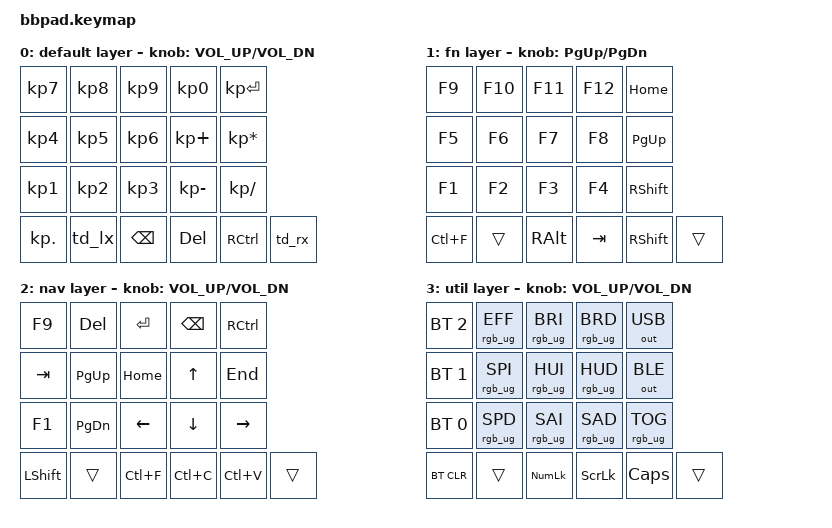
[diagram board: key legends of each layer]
/*
 * Copyright (c) 2023 The ZMK Contributors
 *
 * SPDX-License-Identifier: MIT
 */

#include <behaviors.dtsi>
#include <dt-bindings/zmk/keys.h>
#include <dt-bindings/zmk/bt.h>
#include <dt-bindings/zmk/rgb.h>
#include <dt-bindings/zmk/ext_power.h>
#include <dt-bindings/zmk/outputs.h>

#define DEFAULT  0
#define FN       1
#define NAV      2
#define UTIL     3

#define TIMEOUT 300

&encoder_1 {
    status = "okay";
};


/ {
    behaviors {
        td_lx: tap_dance_layers {
            compatible = "zmk,behavior-tap-dance";
            label = "TAP_DANCE_LAYERS";
            #binding-cells = <0>;
            tapping-term-ms = <170>;
            bindings = <&mo 1>, <&mo 2>;
        };
        td_rx: tap_dance_layers_right {
            compatible = "zmk,behavior-tap-dance";
            label = "TAP_DANCE_LAYERS_RIGHT";
            #binding-cells = <0>;
            tapping-term-ms = <170>;
            bindings = <&mo 2>, <&mo 1>, <&mo 3>;
        };
    };
    sensors {
        compatible = "zmk,keymap-sensors";
        sensors = <&encoder_1>;
    };

    keymap0: keymap {
        compatible = "zmk,keymap";

        default_layer {
            label = "default layer";
            bindings = <
                &kp KP_N7    &kp KP_N8    &kp KP_N9    &kp KP_N0     &kp KP_ENTER
                &kp KP_N4    &kp KP_N5    &kp KP_N6    &kp KP_PLUS   &kp KP_MULTIPLY
                &kp KP_N1    &kp KP_N2    &kp KP_N3    &kp KP_MINUS  &kp KP_DIVIDE
                &kp KP_DOT   &td_lx       &kp BSPC     &kp DEL       &kp RCTRL   &td_rx
            >;
            sensor-bindings = <&inc_dec_kp C_VOL_UP C_VOL_DN>;
        }; 

        fn_layer {
            label = "fn layer";
            bindings = <
                &kp F9       &kp F10      &kp F11      &kp F12       &kp HOME
                &kp F5       &kp F6       &kp F7       &kp F8        &kp PG_UP
                &kp F1       &kp F2       &kp F3       &kp F4        &kp RSHIFT
                &kp LC(F)    &trans       &kp RALT     &kp TAB       &kp RSHIFT  &trans
            >;  
            sensor-bindings = <&inc_dec_kp PG_UP PG_DN>;
        };
        nav_layer {
            label = "nav layer";
            bindings = <
                &kp F9       &kp DEL      &kp ENTER    &kp BSPC      &kp RCTRL
                &kp TAB      &kp PG_UP    &kp HOME     &kp UP        &kp END
                &kp F1       &kp PG_DN    &kp LEFT     &kp DOWN      &kp RIGHT
                &kp LSHIFT   &trans       &kp LC(F)    &kp LC(C)     &kp LC(V)   &trans
            >;
            sensor-bindings = <&inc_dec_kp C_VOL_UP C_VOL_DN>;
        }; 
        util_layer {
            label = "util layer";
            bindings = <
                &bt BT_SEL 2 &rgb_ug RGB_EFF &rgb_ug RGB_BRI &rgb_ug RGB_BRD &out OUT_USB
                &bt BT_SEL 1 &rgb_ug RGB_SPI &rgb_ug RGB_HUI &rgb_ug RGB_HUD &out OUT_BLE
                &bt BT_SEL 0 &rgb_ug RGB_SPD &rgb_ug RGB_SAI &rgb_ug RGB_SAD &rgb_ug RGB_TOG
                &bt BT_CLR   &trans       &kp KP_NLCK  &kp SLCK      &kp CAPS    &trans
            >;
            sensor-bindings = <&inc_dec_kp C_VOL_UP C_VOL_DN>;
        }; 
    };
};
